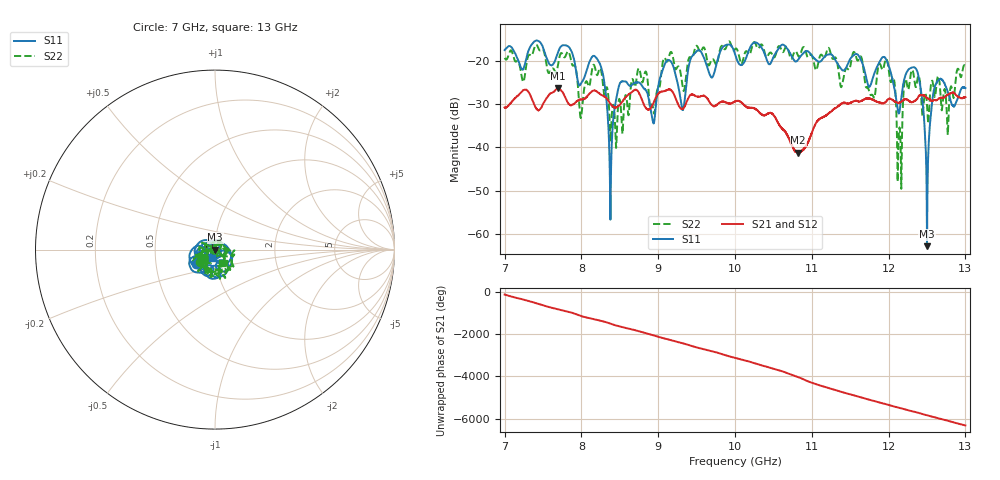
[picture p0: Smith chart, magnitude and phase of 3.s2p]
[Version] 2.0
! Rohde & Schwarz Vector Network Analyzer
! Rohde-Schwarz,ZNL20-2Port,1323001220200009,1.71.1.10-23.02.1.238
! Port Assignments:
! Nominal Port -> Actual Test Port
!  1 -> 1
!  2 -> 2
! Created: GMT+3 2024-09-24 16:02:42
# Hz S DB R 50
[Number of Ports] 2
[Two-Port Data Order] 21_12
! freq[Hz]  S11[mag dB]  S11[ang]  S21[mag dB]  S21[ang]  S12[mag dB]  S12[ang]  S22[mag dB]  S22[ang]
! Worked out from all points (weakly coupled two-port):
!   6001 points, 7 GHz to 13 GHz, reference 50 ohm
!   highest |S21| = -26.30 dB at 7.696 GHz (marker M1); lowest = -41.3 dB at 10.82 GHz (marker M2)
!   lowest |S11| = -62.9 dB at 12.5 GHz (marker M3), VSWR 1.00, Z = 50.1 + j0.0499 ohm
!   |S11| at or under -10 dB: start of sweep to end of sweep
!   |S22| runs from -49.6 to -15.5 dB; largest |S21 - S12| = 0.00098
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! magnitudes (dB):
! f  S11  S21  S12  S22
! 7 GHz  -17.5  -30.8  -30.8  -19.3
! 7.696 GHz  -18.0  -26.3  -26.3  -20.9
! 7.839 GHz  -16.8  -30.0  -30.0  -18.1
! 8 GHz  -25.1  -28.9  -28.9  -32.7
! 8.243 GHz  -20.8  -27.7  -27.7  -21.7
! 8.379 GHz  -54.6  -30.0  -30.0  -38.7
! 8.513 GHz  -24.9  -29.9  -29.9  -30.8
! 8.748 GHz  -25.0  -27.4  -27.4  -21.7
! 8.933 GHz  -34.2  -30.0  -30.0  -30.9
! 9 GHz  -25.9  -27.6  -27.6  -26.4
! 10 GHz  -18.4  -29.4  -29.4  -17.3
! 10.82 GHz  -19.7  -41.3  -41.2  -18.8
! 11 GHz  -18.8  -36.6  -36.6  -18.7
! 11.79 GHz  -24.1  -29.0  -28.9  -27.9
! 12 GHz  -21.0  -28.8  -28.8  -21.8
! 12.14 GHz  -31.9  -29.7  -29.7  -35.5
! 12.22 GHz  -23.5  -28.8  -28.9  -24.3
! 12.36 GHz  -21.9  -29.0  -29.1  -25.8
! 12.5 GHz  -62.9  -28.6  -28.6  -30.2
! 12.62 GHz  -25.1  -29.1  -29.1  -25.3
! 12.77 GHz  -27.2  -27.8  -27.8  -37.1
! 13 GHz  -26.3  -28.4  -28.3  -21.6
